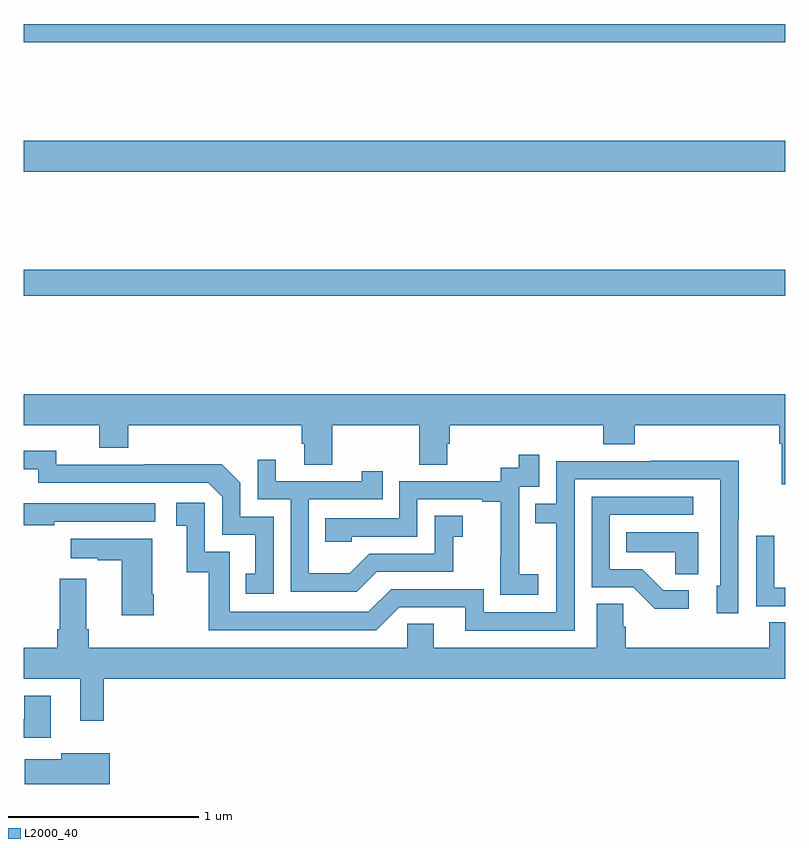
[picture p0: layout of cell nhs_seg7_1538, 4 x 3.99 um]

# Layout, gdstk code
import gdstk
lib = gdstk.Library(unit=1e-6, precision=1e-09)
def R(c, l, rs):  # rectangles x0, y0, x1, y1
    for r in rs: c.add(gdstk.rectangle(r[:2], r[2:], *l))
def P(c, l, *ps):  # polygons
    for p in ps: c.add(gdstk.Polygon(p, *l))
L2000_40 = (2000, 40)

nhs_seg7_1538 = lib.new_cell('nhs_seg7_1538')
R(nhs_seg7_1538, L2000_40, [(215,1058.572,219,1058.708), (215,1059.224,219,1059.388), (215,1059.904,219,1060)])
P(nhs_seg7_1538, L2000_40, [(219,1058.056),(215,1058.056),(215,1057.892),(215.396,1057.892),(215.396,1057.775),(215.549,1057.775),(215.549,1057.892),(216.461,1057.892),(216.461,1057.794),(216.473,1057.794),(216.473,1057.684),(216.621,1057.684),(216.621,1057.892),(217.078,1057.892),(217.078,1057.684),(217.225,1057.684),(217.225,1057.794),(217.238,1057.794),(217.238,1057.892),(218.045,1057.892),(218.045,1057.793),(218.21,1057.793),(218.21,1057.892),(218.969,1057.892),(218.969,1057.796),(218.981,1057.796),(218.981,1057.583),(219,1057.583)],
  [(216.312,1057.413),(216.138,1057.413),(216.138,1057.59),(216.04,1057.688),(215.632,1057.688),(215.632,1057.686),(215.172,1057.686),(215.172,1057.759),(215,1057.759),(215,1057.662),(215.076,1057.662),(215.076,1057.59),(215.97,1057.59),(216.042,1057.518),(216.042,1057.317),(216.215,1057.317),(216.215,1057.113),(216.166,1057.113),(216.166,1057.008),(216.312,1057.008)],
  [(217.702,1057.111),(217.604,1057.111),(217.604,1057.34),(217.602,1057.34),(217.602,1057.569),(217.707,1057.569),(217.707,1057.738),(217.599,1057.738),(217.599,1057.668),(217.506,1057.668),(217.506,1057.599),(216.972,1057.599),(216.972,1057.404),(216.583,1057.404),(216.583,1057.281),(216.723,1057.281),(216.723,1057.308),(217.068,1057.308),(217.068,1057.503),(217.409,1057.503),(217.409,1057.491),(217.505,1057.491),(217.505,1057.207),(217.504,1057.207),(217.504,1057.001),(217.702,1057.001)],
  [(216.853,1057.122),(217.257,1057.122),(217.257,1057.307),(217.306,1057.307),(217.306,1057.417),(217.158,1057.417),(217.158,1057.218),(216.816,1057.218),(216.712,1057.114),(216.498,1057.114),(216.498,1057.503),(216.887,1057.503),(216.887,1057.651),(216.776,1057.651),(216.776,1057.599),(216.325,1057.599),(216.325,1057.711),(216.228,1057.711),(216.228,1057.503),(216.402,1057.503),(216.402,1057.017),(216.748,1057.017)],
  [(217.893,1057.608),(218.658,1057.608),(218.658,1057.05),(218.639,1057.05),(218.639,1056.906),(218.754,1056.906),(218.754,1057.399),(218.757,1057.399),(218.757,1057.706),(218.293,1057.706),(218.293,1057.704),(217.797,1057.704),(217.797,1057.479),(217.687,1057.479),(217.687,1057.378),(217.797,1057.378),(217.797,1056.909),(217.416,1056.909),(217.416,1057.032),(216.93,1057.032),(216.81,1056.912),(216.081,1056.912),(216.081,1057.227),(215.952,1057.227),(215.952,1057.486),(215.802,1057.486),(215.802,1057.365),(215.855,1057.365),(215.855,1057.119),(215.973,1057.119),(215.973,1056.816),(216.852,1056.816),(216.972,1056.936),(217.319,1056.936),(217.319,1056.813),(217.893,1056.813)],
  [(218.494,1057.026),(218.359,1057.026),(218.248,1057.137),(218.079,1057.137),(218.079,1057.422),(218.518,1057.422),(218.518,1057.518),(217.983,1057.518),(217.983,1057.041),(218.202,1057.041),(218.315,1056.929),(218.494,1056.929)],
  [(215.159,1057.386),(215.692,1057.386),(215.692,1057.482),(215,1057.482),(215,1057.366),(215.159,1057.366)],
  [(218.542,1057.33),(218.164,1057.33),(218.164,1057.226),(218.421,1057.226),(218.421,1057.111),(218.542,1057.111)],
  [(219,1057.038),(218.943,1057.038),(218.943,1057.312),(218.847,1057.312),(218.847,1056.942),(219,1056.942)],
  [(215.682,1057.006),(215.674,1057.006),(215.674,1057.297),(215.247,1057.297),(215.247,1057.193),(215.39,1057.193),(215.39,1057.183),(215.516,1057.183),(215.516,1056.894),(215.682,1056.894)],
  [(219,1056.857),(218.915,1056.857),(218.915,1056.724),(218.162,1056.724),(218.162,1056.833),(218.148,1056.833),(218.148,1056.956),(218.009,1056.956),(218.009,1056.724),(217.153,1056.724),(217.153,1056.851),(217.014,1056.851),(217.014,1056.724),(215.342,1056.724),(215.342,1056.82),(215.329,1056.82),(215.329,1057.087),(215.189,1057.087),(215.189,1056.82),(215.177,1056.82),(215.177,1056.724),(215,1056.724),(215,1056.56),(215.297,1056.56),(215.297,1056.339),(215.419,1056.339),(215.419,1056.56),(219,1056.56)],
  [(215.143,1056.472),(215.003,1056.472),(215.003,1056.349),(215,1056.349),(215,1056.251),(215.143,1056.251)],
  [(215.452,1056.169),(215.198,1056.169),(215.198,1056.137),(215.004,1056.137),(215.004,1056.008),(215.452,1056.008)])

lib.write_gds('nhs_seg7_1538.gds')
